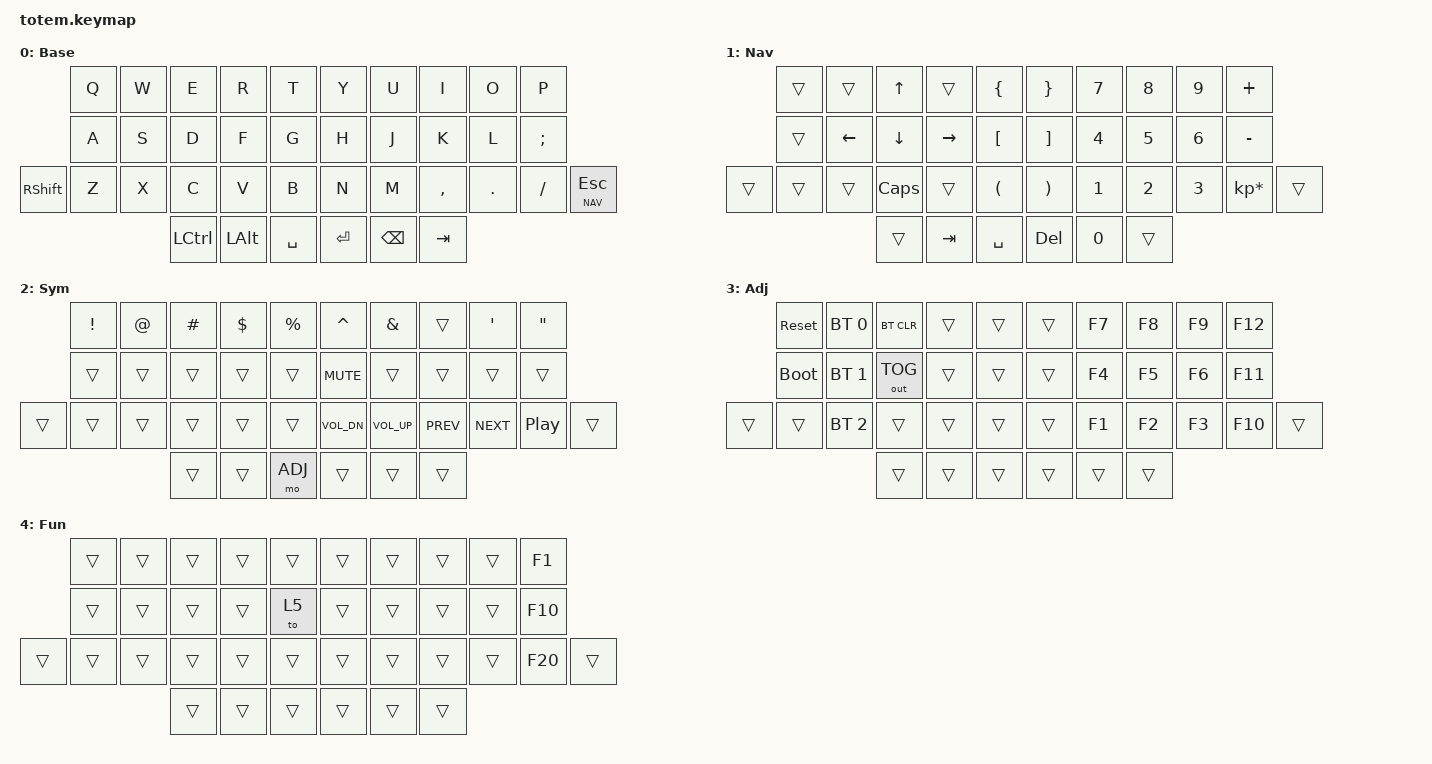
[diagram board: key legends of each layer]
#include <behaviors.dtsi>
#include <dt-bindings/zmk/bt.h>
#include <dt-bindings/zmk/ext_power.h>
#include <dt-bindings/zmk/keys.h>
#include <dt-bindings/zmk/outputs.h>

#define BASE 0
#define NAV  1
#define SYM  2
#define ADJ  3

&mt {
    quick-tap-ms = <100>;
    global-quick-tap;
    flavor = "tap-preferred";
    tapping-term-ms = <170>;
};

&lt {
    tapping-term-ms = <240>;
    flavor = "balanced";
    quick-tap-ms = <150>;
};

/ {
    behaviors {
        tog_on: toggle_layer_on_only {
            compatible = "zmk,behavior-toggle-layer";
            #binding-cells = <1>;
            display-name = "Toggle Layer On";
            toggle-mode = "on";
        };
    };

    combos {
        compatible = "zmk,combos";
    };

    keymap {
        compatible = "zmk,keymap";

        Base {
            label = "Base";
            bindings = <
//             ┏━━━━━━━━━━━┳━━━━━━━━━━━┳━━━━━━━━━━━┳━━━━━━━━━━━┳━━━━━━━━━━━┓   ┏━━━━━━━━━━━┳━━━━━━━━━━━┳━━━━━━━━━━━┳━━━━━━━━━━━┳━━━━━━━━━━━┓
//             ┃     Q     ┃     W     ┃     F     ┃     P     ┃     G     ┃   ┃     J     ┃     L     ┃     U     ┃     Y     ┃     ;     ┃
                    &kp Q       &kp W       &kp E       &kp R       &kp T           &kp Y       &kp U       &kp I       &kp O       &kp P
//             ┣━━━━━━━━━━━╋━━━━━━━━━━━╋━━━━━━━━━━━╋━━━━━━━━━━━╋━━━━━━━━━━━┫   ┣━━━━━━━━━━━╋━━━━━━━━━━━╋━━━━━━━━━━━╋━━━━━━━━━━━╋━━━━━━━━━━━┫
//             ┃     A     ┃     R     ┃     S     ┃     T     ┃     D     ┃   ┃     H     ┃     N     ┃     E     ┃     I     ┃     O     ┃
                    &kp A       &kp S       &kp D       &kp F       &kp G           &kp H       &kp J       &kp K       &kp L       &kp SEMICOLON
// ┏━━━━━━━━━━━╋━━━━━━━━━━━╋━━━━━━━━━━━╋━━━━━━━━━━━╋━━━━━━━━━━━╋━━━━━━━━━━━┫   ┣━━━━━━━━━━━╋━━━━━━━━━━━╋━━━━━━━━━━━╋━━━━━━━━━━━╋━━━━━━━━━━━╋━━━━━━━━━━━┓
// ┃           ┃     Z     ┃     X     ┃     C     ┃     V     ┃     B     ┃   ┃     K     ┃     M     ┃     ,     ┃     .     ┃     /     ┃           ┃
    &kp RSHIFT     &kp Z       &kp X       &kp C       &kp V       &kp B           &kp N       &kp M     &kp COMMA    &kp DOT    &kp SLASH    &lt NAV ESC
// ┗━━━━━━━━━━━┻━━━━━━━━━━━┻━━━━━━━━━━━╋━━━━━━━━━━━╋━━━━━━━━━━━╋━━━━━━━━━━━┫   ┣━━━━━━━━━━━╋━━━━━━━━━━━╋━━━━━━━━━━━╋━━━━━━━━━━━┻━━━━━━━━━━━┻━━━━━━━━━━━┛
//                                     ┃    LCTRL  ┃   LALT    ┃    SPC    ┃   ┃   ENTER   ┃   BSPC    ┃    TAB    ┃    
                                          &kp LCTRL   &kp LALT   &kp SPACE        &kp RET     &kp BSPC     &kp TAB
//                                     ┗━━━━━━━━━━━┻━━━━━━━━━━━┻━━━━━━━━━━━┛   ┗━━━━━━━━━━━┻━━━━━━━━━━━┻━━━━━━━━━━━┛
            >;
        };

        Nav {
            label = "Nav";
            bindings = <
//             ┏━━━━━━━━━━━┳━━━━━━━━━━━┳━━━━━━━━━━━┳━━━━━━━━━━━┳━━━━━━━━━━━┓   ┏━━━━━━━━━━━┳━━━━━━━━━━━┳━━━━━━━━━━━┳━━━━━━━━━━━┳━━━━━━━━━━━┓
//             ┃           ┃           ┃     UP    ┃           ┃     {     ┃   ┃     }     ┃     7     ┃     8     ┃     9     ┃     +     ┃
                  &trans      &trans   &kp UP_ARROW   &trans     &kp LBRC          &kp RBRC &kp NUMBER_7 &kp NUMBER_8 &kp NUMBER_9 &kp PLUS
//             ┣━━━━━━━━━━━╋━━━━━━━━━━━╋━━━━━━━━━━━╋━━━━━━━━━━━╋━━━━━━━━━━━┫   ┣━━━━━━━━━━━╋━━━━━━━━━━━╋━━━━━━━━━━━╋━━━━━━━━━━━╋━━━━━━━━━━━┫
//             ┃   SHIFT   ┃   LEFT    ┃    DOWN   ┃   RIGHT   ┃     [     ┃   ┃     ]     ┃     4     ┃     5     ┃     6     ┃     -     ┃
                  &trans      &kp LEFT    &kp DOWN     &kp RIGHT   &kp LBKT       &kp RBKT   &kp NUMBER_4 &kp NUMBER_5 &kp NUMBER_6 &kp MINUS
// ┏━━━━━━━━━━━╋━━━━━━━━━━━╋━━━━━━━━━━━╋━━━━━━━━━━━╋━━━━━━━━━━━╋━━━━━━━━━━━┫   ┣━━━━━━━━━━━╋━━━━━━━━━━━╋━━━━━━━━━━━╋━━━━━━━━━━━╋━━━━━━━━━━━╋━━━━━━━━━━━┓
// ┃           ┃           ┃   P UP    ┃  C LOCK   ┃  P DOWN   ┃     (     ┃   ┃     )     ┃     1     ┃     2     ┃     3     ┃     *     ┃           ┃
     &trans       &trans      &trans      &kp CAPS     &trans   &kp LPAR         &kp RPAR  &kp NUMBER_1 &kp NUMBER_2 &kp NUMBER_3 &kp KP_MULTIPLY  &trans
// ┗━━━━━━━━━━━┻━━━━━━━━━━━┻━━━━━━━━━━━╋━━━━━━━━━━━╋━━━━━━━━━━━╋━━━━━━━━━━━┫   ┣━━━━━━━━━━━╋━━━━━━━━━━━╋━━━━━━━━━━━╋━━━━━━━━━━━┻━━━━━━━━━━━┻━━━━━━━━━━━┛
//                                     ┃           ┃    TAB    ┃    SPC    ┃   ┃    DEL    ┃     0     ┃           ┃
                                          &trans      &kp TAB      &kp SPC       &kp DEL   &kp NUMBER_0   &trans
//                                     ┗━━━━━━━━━━━┻━━━━━━━━━━━┻━━━━━━━━━━━┛   ┗━━━━━━━━━━━┻━━━━━━━━━━━┻━━━━━━━━━━━┛
            >;
        };

        Sym {
            label = "Sym";
            bindings = <
//             ┏━━━━━━━━━━━┳━━━━━━━━━━━┳━━━━━━━━━━━┳━━━━━━━━━━━┳━━━━━━━━━━━┓   ┏━━━━━━━━━━━┳━━━━━━━━━━━┳━━━━━━━━━━━┳━━━━━━━━━━━┳━━━━━━━━━━━┓
//             ┃     !     ┃     @     ┃     #     ┃     $     ┃     %     ┃   ┃     ˆ     ┃     &     ┃     Ü     ┃     '     ┃     "     ┃
                 &kp EXCL    &kp AT     &kp HASH     &kp DOLLAR   &kp PERCENT   &kp CARET    &kp AMPERSAND   &trans  &kp SQT      &kp DQT
//             ┣━━━━━━━━━━━╋━━━━━━━━━━━╋━━━━━━━━━━━╋━━━━━━━━━━━╋━━━━━━━━━━━┫   ┣━━━━━━━━━━━╋━━━━━━━━━━━╋━━━━━━━━━━━╋━━━━━━━━━━━╋━━━━━━━━━━━┫
//             ┃     Ä     ┃           ┃    SZ     ┃           ┃           ┃   ┃   MUTE    ┃   YEN     ┃   EURO    ┃  POUND    ┃     Ö     ┃
                   &trans     &trans      &trans     &trans      &trans          &kp C_MUTE   &trans      &trans       &trans      &trans                        
// ┏━━━━━━━━━━━╋━━━━━━━━━━━╋━━━━━━━━━━━╋━━━━━━━━━━━╋━━━━━━━━━━━╋━━━━━━━━━━━┫   ┣━━━━━━━━━━━╋━━━━━━━━━━━╋━━━━━━━━━━━╋━━━━━━━━━━━╋━━━━━━━━━━━╋━━━━━━━━━━━┓
// ┃           ┃  EMAIL1   ┃  EMAIL2   ┃           ┃           ┃           ┃   ┃   VOL-    ┃   VOL+    ┃   LAST    ┃   NEXT    ┃     \     ┃           ┃
      &trans        &trans      &trans      &trans      &trans      &trans     &kp C_VOL_DN  &kp C_VOL_UP &kp C_PREV  &kp C_NEXT  &kp C_PP      &trans 
// ┗━━━━━━━━━━━┻━━━━━━━━━━━┻━━━━━━━━━━━╋━━━━━━━━━━━╋━━━━━━━━━━━╋━━━━━━━━━━━┫   ┣━━━━━━━━━━━╋━━━━━━━━━━━╋━━━━━━━━━━━╋━━━━━━━━━━━┻━━━━━━━━━━━┻━━━━━━━━━━━┛
//                                     ┃           ┃    GIF    ┃    ADJ    ┃   ┃           ┃           ┃           ┃
                                        &trans      &trans       &mo ADJ          &trans       &trans     &trans 
//                                     ┗━━━━━━━━━━━┻━━━━━━━━━━━┻━━━━━━━━━━━┛   ┗━━━━━━━━━━━┻━━━━━━━━━━━┻━━━━━━━━━━━┛

            >;
        };

        Adj {
            label = "Adj";
            bindings = <
//             ┏━━━━━━━━━━━┳━━━━━━━━━━━┳━━━━━━━━━━━┳━━━━━━━━━━━┳━━━━━━━━━━━┓   ┏━━━━━━━━━━━┳━━━━━━━━━━━┳━━━━━━━━━━━┳━━━━━━━━━━━┳━━━━━━━━━━━┓
//             ┃   RESET   ┃ BT SEL 0  ┃  BT CLEAR ┃           ┃           ┃   ┃           ┃    F7     ┃    F8     ┃    F9     ┃    F12    ┃
                &sys_reset   &bt BT_SEL 0  &bt BT_CLR  &trans      &trans      &trans          &kp F7    &kp F8     &kp F9       &kp F12
//             ┣━━━━━━━━━━━╋━━━━━━━━━━━╋━━━━━━━━━━━╋━━━━━━━━━━━╋━━━━━━━━━━━┫   ┣━━━━━━━━━━━╋━━━━━━━━━━━╋━━━━━━━━━━━╋━━━━━━━━━━━╋━━━━━━━━━━━┫
//             ┃ BOOTLOAD  ┃ BT SEL 1  ┃  OUT TOG  ┃           ┃           ┃   ┃           ┃    F4     ┃    F5     ┃    F6     ┃    F11    ┃
                &bootloader  &bt BT_SEL 1 &out OUT_TOG  &trans       &trans           &trans     &kp F4      &kp F5     &kp F6      &kp F11 
// ┏━━━━━━━━━━━╋━━━━━━━━━━━╋━━━━━━━━━━━╋━━━━━━━━━━━╋━━━━━━━━━━━╋━━━━━━━━━━━┫   ┣━━━━━━━━━━━╋━━━━━━━━━━━╋━━━━━━━━━━━╋━━━━━━━━━━━╋━━━━━━━━━━━╋━━━━━━━━━━━┓
// ┃           ┃           ┃ BT SEL 2  ┃           ┃           ┃           ┃   ┃           ┃    F1     ┃    F2     ┃    F3     ┃    F10    ┃           ┃
      &trans       &trans    &bt BT_SEL 2    &trans       &trans      &trans        &trans      &kp F1       &kp F2      &kp F3       &kp F10   &trans
// ┗━━━━━━━━━━━┻━━━━━━━━━━━┻━━━━━━━━━━━╋━━━━━━━━━━━╋━━━━━━━━━━━╋━━━━━━━━━━━┫   ┣━━━━━━━━━━━╋━━━━━━━━━━━╋━━━━━━━━━━━╋━━━━━━━━━━━┻━━━━━━━━━━━┻━━━━━━━━━━━┛
//                                     ┃           ┃           ┃           ┃   ┃           ┃           ┃           ┃
                                            &trans      &trans      &trans          &trans      &trans      &trans
//                                     ┗━━━━━━━━━━━┻━━━━━━━━━━━┻━━━━━━━━━━━┛   ┗━━━━━━━━━━━┻━━━━━━━━━━━┻━━━━━━━━━━━┛

            >;
        };

        Fun {
            label = "Fun";
            bindings = <
        &trans  &trans  &trans  &trans  &trans  &trans  &trans  &trans  &trans   &kp F1
        &trans  &trans  &trans  &trans   &to 5  &trans  &trans  &trans  &trans  &kp F10
&trans  &trans  &trans  &trans  &trans  &trans  &trans  &trans  &trans  &trans  &kp F20  &trans
                        &trans  &trans  &trans  &trans  &trans  &trans
            >;
        };
    };
};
